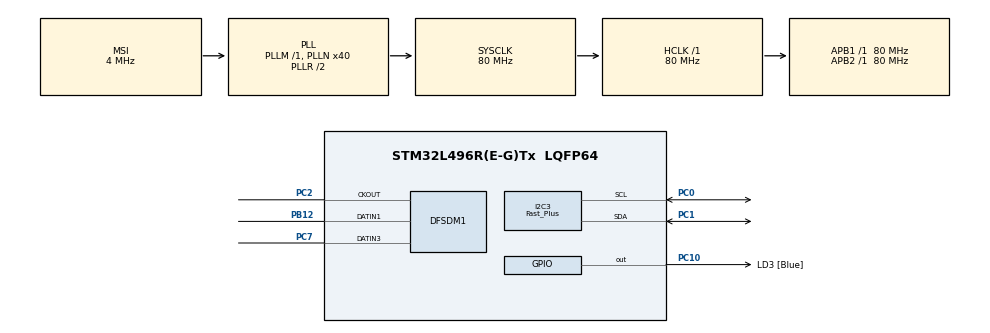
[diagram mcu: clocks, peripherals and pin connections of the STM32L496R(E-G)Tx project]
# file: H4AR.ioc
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DFSDM1.Divider=40
DFSDM1.DmaMode_reg_FIL0=ENABLE
DFSDM1.DmaMode_reg_FIL1=ENABLE
DFSDM1.DmaMode_reg_FIL2=ENABLE
DFSDM1.DmaMode_reg_FIL3=ENABLE
DFSDM1.FastMode_reg_FIL0=ENABLE
DFSDM1.FastMode_reg_FIL1=ENABLE
DFSDM1.FastMode_reg_FIL2=ENABLE
DFSDM1.FastMode_reg_FIL3=ENABLE
DFSDM1.Filter_injChannel0_FIL0=__NULL
DFSDM1.Filter_injChannel0_FIL2=__NULL
DFSDM1.Filter_injChannel1_FIL0=__NULL
DFSDM1.Filter_injChannel1_FIL1=__NULL
DFSDM1.Filter_injChannel2_FIL0=__NULL
DFSDM1.Filter_injChannel2_FIL2=__NULL
DFSDM1.Filter_injChannel3_FIL0=__NULL
DFSDM1.Filter_regChannel_FIL0=DFSDM_CHANNEL_2
DFSDM1.Filter_regChannel_FIL1=DFSDM_CHANNEL_3
DFSDM1.Filter_regChannel_FIL2=DFSDM_CHANNEL_0
DFSDM1.Filter_regChannel_FIL3=DFSDM_CHANNEL_1
DFSDM1.Filter_regContinuousMode_FIL2=DFSDM_CONTINUOUS_CONV_ON
DFSDM1.Fosr_FIL0=63
DFSDM1.Fosr_FIL1=63
DFSDM1.Fosr_FIL2=63
DFSDM1.Fosr_FIL3=63
DFSDM1.RightBitShift_CH0=0x7
DFSDM1.RightBitShift_CH1=0x07
DFSDM1.RightBitShift_CH2=0x7
DFSDM1.RightBitShift_CH3=0x7
DFSDM1.SincOrder_FIL0=DFSDM_FILTER_SINC5_ORDER
DFSDM1.SincOrder_FIL1=DFSDM_FILTER_SINC5_ORDER
DFSDM1.SincOrder_FIL2=DFSDM_FILTER_SINC5_ORDER
DFSDM1.SincOrder_FIL3=DFSDM_FILTER_SINC5_ORDER
DFSDM1.Type_spi_CH1=DFSDM_CHANNEL_SPI_FALLING
DFSDM1.Type_spi_CH3=DFSDM_CHANNEL_SPI_FALLING
Dma.DFSDM1_FLT0.2.Direction=DMA_PERIPH_TO_MEMORY
Dma.DFSDM1_FLT0.2.Instance=DMA1_Channel4
Dma.DFSDM1_FLT0.2.MemDataAlignment=DMA_MDATAALIGN_WORD
Dma.DFSDM1_FLT0.2.MemInc=DMA_MINC_ENABLE
Dma.DFSDM1_FLT0.2.Mode=DMA_CIRCULAR
Dma.DFSDM1_FLT0.2.PeriphDataAlignment=DMA_PDATAALIGN_WORD
Dma.DFSDM1_FLT0.2.PeriphInc=DMA_PINC_DISABLE
Dma.DFSDM1_FLT0.2.Priority=DMA_PRIORITY_LOW
Dma.DFSDM1_FLT1.0.Direction=DMA_PERIPH_TO_MEMORY
Dma.DFSDM1_FLT1.0.Instance=DMA1_Channel5
Dma.DFSDM1_FLT1.0.MemDataAlignment=DMA_MDATAALIGN_WORD
Dma.DFSDM1_FLT1.0.MemInc=DMA_MINC_ENABLE
Dma.DFSDM1_FLT1.0.Mode=DMA_CIRCULAR
Dma.DFSDM1_FLT1.0.PeriphDataAlignment=DMA_PDATAALIGN_WORD
Dma.DFSDM1_FLT1.0.PeriphInc=DMA_PINC_DISABLE
Dma.DFSDM1_FLT1.0.Priority=DMA_PRIORITY_LOW
Dma.DFSDM1_FLT2.3.Direction=DMA_PERIPH_TO_MEMORY
Dma.DFSDM1_FLT2.3.Instance=DMA1_Channel6
Dma.DFSDM1_FLT2.3.MemDataAlignment=DMA_MDATAALIGN_WORD
Dma.DFSDM1_FLT2.3.MemInc=DMA_MINC_ENABLE
Dma.DFSDM1_FLT2.3.Mode=DMA_CIRCULAR
Dma.DFSDM1_FLT2.3.PeriphDataAlignment=DMA_PDATAALIGN_WORD
Dma.DFSDM1_FLT2.3.PeriphInc=DMA_PINC_DISABLE
Dma.DFSDM1_FLT2.3.Priority=DMA_PRIORITY_LOW
Dma.DFSDM1_FLT3.1.Direction=DMA_PERIPH_TO_MEMORY
Dma.DFSDM1_FLT3.1.Instance=DMA1_Channel7
Dma.DFSDM1_FLT3.1.MemDataAlignment=DMA_MDATAALIGN_WORD
Dma.DFSDM1_FLT3.1.MemInc=DMA_MINC_ENABLE
Dma.DFSDM1_FLT3.1.Mode=DMA_CIRCULAR
Dma.DFSDM1_FLT3.1.PeriphDataAlignment=DMA_PDATAALIGN_WORD
Dma.DFSDM1_FLT3.1.PeriphInc=DMA_PINC_DISABLE
Dma.DFSDM1_FLT3.1.Priority=DMA_PRIORITY_LOW
Dma.Request0=DFSDM1_FLT1
Dma.Request1=DFSDM1_FLT3
Dma.Request2=DFSDM1_FLT0
Dma.Request3=DFSDM1_FLT2
I2C3.I2C_Speed_Mode=I2C_Fast_Plus
I2C3.Timing=0x00300F33
Mcu.Family=STM32L4
Mcu.Name=STM32L496R(E-G)Tx
Mcu.Package=LQFP64
NVIC.DMA1_Channel4_IRQn=true\:0\:0\:false\:false\:true\:false\:true
NVIC.DMA1_Channel5_IRQn=true\:0\:0\:false\:false\:true\:false\:true
NVIC.DMA1_Channel6_IRQn=true\:0\:0\:false\:false\:true\:false\:true
NVIC.DMA1_Channel7_IRQn=true\:0\:0\:false\:false\:true\:false\:true
NVIC.PriorityGroup=NVIC_PRIORITYGROUP_4
PA13\ (JTMS/SWDIO).Mode=Serial_Wire
PA13\ (JTMS/SWDIO).Signal=SYS_JTMS-SWDIO
PA14\ (JTCK/SWCLK).Mode=Serial_Wire
PA14\ (JTCK/SWCLK).Signal=SYS_JTCK-SWCLK
PB12.Signal=S_DATAIN1DFSDM1
PC0.Mode=I2C
PC0.Signal=I2C3_SCL
PC1.Mode=I2C
PC1.Signal=I2C3_SDA
PC10.GPIO_Label=LD3 [Blue]
PC10.GPIO_PuPd=GPIO_NOPULL
PC10.Signal=GPIO_Output
PC14-OSC32_IN\ (PC14).Mode=LSE-External-Oscillator
PC14-OSC32_IN\ (PC14).Signal=RCC_OSC32_IN
PC15-OSC32_OUT\ (PC15).Mode=LSE-External-Oscillator
PC15-OSC32_OUT\ (PC15).Signal=RCC_OSC32_OUT
PC2.Signal=S_CKOUTDFSDM1
PC7.Signal=S_DATAIN3DFSDM1
PH0-OSC_IN\ (PH0).Mode=HSE-External-Oscillator
PH0-OSC_IN\ (PH0).Signal=RCC_OSC_IN
PH1-OSC_OUT\ (PH1).Mode=HSE-External-Oscillator
PH1-OSC_OUT\ (PH1).Signal=RCC_OSC_OUT
ProjectManager.HeapSize=0x200
ProjectManager.StackSize=0x400
ProjectManager.TargetToolchain=STM32CubeIDE
RCC.ADCFreq_Value=16000000
RCC.AHBFreq_Value=80000000
RCC.APB1Freq_Value=80000000
RCC.APB1TimFreq_Value=80000000
RCC.APB2Freq_Value=80000000
RCC.APB2TimFreq_Value=80000000
RCC.CortexFreq_Value=80000000
RCC.HCLKFreq_Value=80000000
RCC.HSE_VALUE=16000000
RCC.HSI48_VALUE=48000000
RCC.HSI_VALUE=16000000
RCC.MSI_VALUE=4000000
RCC.PLLN=40
RCC.SYSCLKFreq_VALUE=80000000
RCC.SYSCLKSource=RCC_SYSCLKSOURCE_PLLCLK
RCC.USBFreq_Value=16000000
RCC.VCOOutputFreq_Value=160000000
SH.S_CKOUTDFSDM1.0=DFSDM1_CKOUT,PDM_SPI_input_from_ch1_and_internal_clock
SH.S_CKOUTDFSDM1.1=DFSDM1_CKOUT,CKOUT
SH.S_CKOUTDFSDM1.2=DFSDM1_CKOUT,PDM_SPI_input_from_ch3_and_internal_clock
SH.S_CKOUTDFSDM1.3=DFSDM1_CKOUT,PDM_SPI_Input_from_ch01_and_Internal_Clock
SH.S_CKOUTDFSDM1.4=DFSDM1_CKOUT,PDM_SPI_Input_from_ch23_and_Internal_Clock
SH.S_DATAIN1DFSDM1.0=DFSDM1_DATIN1,PDM_SPI_input_from_ch1_and_internal_clock
SH.S_DATAIN1DFSDM1.1=DFSDM1_DATIN1,PDM_SPI_Input_from_ch01_and_Internal_Clock
SH.S_DATAIN3DFSDM1.0=DFSDM1_DATIN3,PDM_SPI_input_from_ch3_and_internal_clock
SH.S_DATAIN3DFSDM1.1=DFSDM1_DATIN3,PDM_SPI_Input_from_ch23_and_Internal_Clock
board=custom

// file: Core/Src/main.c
/* USER CODE BEGIN Header */
/**
  ******************************************************************************
  * @file           : main.c
  * @brief          : Main program body
  ******************************************************************************
  * @attention
  *
  * <h2><center>&copy; Copyright (c) 2020 STMicroelectronics.
  * All rights reserved.</center></h2>
  *
  * This software component is licensed by ST under BSD 3-Clause license,
  * the "License"; You may not use this file except in compliance with the
  * License. You may obtain a copy of the License at:
  *                        opensource.org/licenses/BSD-3-Clause
  *
  ******************************************************************************
  */
/* USER CODE END Header */
#include "main.h"

/* USER CODE BEGIN Includes */
#include "constants.h"
#include "acoustic_sl.h"
#include "sound_localizer.h"
#include "oled.h"
/* USER CODE END Includes */

DFSDM_Filter_HandleTypeDef hdfsdm1_filter0;
DFSDM_Filter_HandleTypeDef hdfsdm1_filter1;
DFSDM_Filter_HandleTypeDef hdfsdm1_filter2;
DFSDM_Filter_HandleTypeDef hdfsdm1_filter3;
DFSDM_Channel_HandleTypeDef hdfsdm1_channel0;
DFSDM_Channel_HandleTypeDef hdfsdm1_channel1;
DFSDM_Channel_HandleTypeDef hdfsdm1_channel2;
DFSDM_Channel_HandleTypeDef hdfsdm1_channel3;
DMA_HandleTypeDef hdma_dfsdm1_flt1;
DMA_HandleTypeDef hdma_dfsdm1_flt3;
DMA_HandleTypeDef hdma_dfsdm1_flt0;
DMA_HandleTypeDef hdma_dfsdm1_flt2;

I2C_HandleTypeDef hi2c3;

void SystemClock_Config(void);
static void MX_GPIO_Init(void);
static void MX_DMA_Init(void);
static void MX_DFSDM1_Init(void);
static void MX_I2C3_Init(void);

/* USER CODE BEGIN 0 */
int16_t PlayBuf0[AUDIO_REC_SIZE];
int16_t PlayBuf1[AUDIO_REC_SIZE];
int16_t PlayBuf2[AUDIO_REC_SIZE];
int16_t PlayBuf3[AUDIO_REC_SIZE];
int32_t RecBuf0[AUDIO_REC_SIZE];
int32_t RecBuf1[AUDIO_REC_SIZE];
int32_t RecBuf2[AUDIO_REC_SIZE];
int32_t RecBuf3[AUDIO_REC_SIZE];

// Offset fixing
// TODO: Use this for offset-fixing, as needed
int32_t PlayBufSums[MICS];

volatile int32_t AngleExists0;
volatile int32_t AngleExists1;
volatile int32_t AngleExists2;
volatile int32_t AngleRaw0;
volatile int32_t AngleRaw1;
volatile int32_t AngleRaw2;

volatile int32_t AngleEstimation00;
volatile int32_t AngleEstimation01;
volatile int32_t AngleEstimation10;
volatile int32_t AngleEstimation11;
volatile int32_t AngleEstimation20;
volatile int32_t AngleEstimation21;
volatile int32_t RaiseIRQ;

volatile int32_t IsConvergence;
volatile int32_t ConvergenceAngle;

// Smoothing stuff
volatile int32_t pastEstimatesForSmoothing[3][SMOOTHING_SAMPLES];
volatile int32_t currentSmoothingIndex[3];
volatile int32_t currentSmoothingSum[3];
volatile int32_t currentSmoothingSumOfSquares[3];

volatile int32_t pastEstimatesForSmoothingConvergence[SMOOTHING_SAMPLES];
volatile int32_t currentSmoothingIndexConvergence;
volatile int32_t currentSmoothingSumConvergence;
volatile int32_t currentSmoothingSumOfSquaresConvergence;

volatile int32_t SmoothedAngleExists0;
volatile int32_t SmoothedAngleExists1;
volatile int32_t SmoothedAngleExists2;
volatile int32_t SmoothedAngleEstimation0;
volatile int32_t SmoothedAngleEstimation1;
volatile int32_t SmoothedAngleEstimation2;

volatile int32_t SmoothedConvergenceExists;
volatile int32_t SmoothedConvergenceAngle;

volatile int alreadyBinned = 1;
int globalLastAngle = 8;

// Whether first half of PlayBuf[i] is ready for acousticSL
uint8_t PlayHalfReady[MICS] = {0, 0, 0, 0};

// Whether second half of PlayBuf[i] is ready for acousticSL
uint8_t PlaySecondHalfReady[MICS] = {0, 0, 0, 0};

uint8_t DmaRecHalfBuffComplete[MICS] = {0, 0, 0, 0};
uint8_t DmaRecBuffComplete[MICS] = {0, 0, 0, 0};

int DFSDMFilterToIndex(DFSDM_Filter_HandleTypeDef *hfdfsdm_filter) {
	if (&hdfsdm1_filter0 == hfdfsdm_filter) return 0;
	else if (&hdfsdm1_filter1 == hfdfsdm_filter) return 1;
	else if (&hdfsdm1_filter2 == hfdfsdm_filter) return 2;
	else if (&hdfsdm1_filter3 == hfdfsdm_filter) return 3;
	else Error_Handler();

	return -1;
}

DFSDM_Filter_HandleTypeDef* IndexToDFSDMFilter(int index) {
	switch (index) {
		case 0: return &hdfsdm1_filter0;
		case 1: return &hdfsdm1_filter1;
		case 2: return &hdfsdm1_filter2;
		case 3: return &hdfsdm1_filter3;
	}

	Error_Handler();
	return NULL;
}

void HAL_DFSDM_FilterRegConvHalfCpltCallback(DFSDM_Filter_HandleTypeDef *hdfsdm_filter) {
	int filter = DFSDMFilterToIndex(hdfsdm_filter);
	DmaRecHalfBuffComplete[filter] = 1;
}

void HAL_DFSDM_FilterRegConvCpltCallback(DFSDM_Filter_HandleTypeDef *hdfsdm_filter) {
	int filter = DFSDMFilterToIndex(hdfsdm_filter);
	DmaRecBuffComplete[filter] = 1;
}

void HAL_DFSDM_FilterErrorCallback(DFSDM_Filter_HandleTypeDef *hdfsdm_filter) {
	Error_Handler();
}

int IsAllSet(uint8_t *buffer, int n) {
	for (int i = 0; i < n; i++) {
		if (buffer[i] == 0) {
			return 0;
		}
	}

	return 1;
}

void GetBuffers(int index, int16_t **playbuf, int32_t **recbuf) {
	int16_t *buffer = 0;
	switch (index) {
		case 0: buffer = PlayBuf0; break;
		case 1: buffer = PlayBuf1; break;
		case 2: buffer = PlayBuf2; break;
		case 3: buffer = PlayBuf3; break;
		default: Error_Handler(); break;
	}

	int32_t *recbuffer = 0;
	switch (index) {
		case 0: recbuffer = RecBuf0; break;
		case 1: recbuffer = RecBuf1; break;
		case 2: recbuffer = RecBuf2; break;
		case 3: recbuffer = RecBuf3; break;
		default: Error_Handler(); break;
	}

	if (playbuf) *playbuf = buffer;
	if (recbuf) *recbuf = recbuffer;
}

void ClearUI8Buffers(uint8_t *buffer, int n) {
	for (int i = 0; i < n; i++) {
		buffer[i] = 0;
	}
}

void ClearI32Buffers(volatile int32_t *buffer, int n) {
	for (int i = 0; i < n; i++) {
		buffer[i] = 0;
	}
}

void ClearBuffers(int offset) {
	int16_t *playbuf;
	int32_t *recbuf;
	GetBuffers(offset, &playbuf, &recbuf);
	for (int i = 0; i < AUDIO_REC_SIZE; i++) {
		playbuf[i] = 0;
		recbuf[i] = 0;
	}
}

int GetOffsets(int offset) {
	// If you think you know what you want to do here,
	// you probably don't. Never change these numbers
	// unless you want to fail.
	//
	// - :eyes:
	int evil_offset = 300;
	switch (offset) {
	case 0:
		return (465) - evil_offset;
	case 1:
		return (349) - evil_offset;
	case 2:
		return (423) - evil_offset;
	case 3:
		return (600) - evil_offset;
	default:
		return 0;
	}
}

void TransferBuffers(int offset, int low, int high) {
	int16_t *buffer;
	int32_t *recbuffer;
	GetBuffers(offset, &buffer, &recbuffer);

	// acousticSL only wants 16 bits
	for (uint16_t i = low; i < high; i++) {
		buffer[i] = (recbuffer[i] >> 16) - GetOffsets(offset);
	}
}

// TODO: Check if angle is measured anticlockwise from x-axis
// TODO: Update this when covering 360 degree range
uint8_t angleToDirectionNumber(int32_t exists, int32_t estimation) {
	if (!exists) return 8;
	if (estimation >= 90 && estimation <= 270) return 8;
	return (((estimation + 23) / 45) % 8);
}

void EXTI1_Callback(void) {
	if (RaiseIRQ & 1) {
		Audio_ProcessAngle(0);
		int32_t angle = Audio_GetAngle(0);
		if (angle == ACOUSTIC_SL_NO_AUDIO_DETECTED) {
			AngleExists0 = 0;
		} else {
			AngleExists0 = 1;
			AngleRaw0 = angle;

		}
	}

	if (RaiseIRQ & 2) {
		Audio_ProcessAngle(1);
		int32_t angle = Audio_GetAngle(1);
		if (angle == ACOUSTIC_SL_NO_AUDIO_DETECTED) {
			AngleExists1 = 0;
		} else {
			AngleExists1 = 1;
			AngleRaw1 = angle;
		}
	}

	/*
	if (RaiseIRQ & 4) {
		Audio_ProcessAngle(2);
		int32_t angle = Audio_GetAngle(2);
		if (angle == ACOUSTIC_SL_NO_AUDIO_DETECTED) {
			AngleExists2 = 0;
		} else {
			AngleExists2 = 1;
			AngleRaw2 = angle;
		}
	}
	*/

	int32_t input[3] = {AngleRaw0, AngleRaw1, AngleRaw2};
	int32_t exists[3] = {AngleExists0, AngleExists1, AngleExists2};
	volatile int32_t *smoothExists[3] = {&SmoothedAngleExists0, &SmoothedAngleExists1, &SmoothedAngleExists2};
	volatile int32_t *smoothAngle[3] = {&SmoothedAngleEstimation0, &SmoothedAngleEstimation1, &SmoothedAngleEstimation2};
	for (int i = 0; i < 2; i++) {
		if (!exists[i]) {
			*(smoothExists[i]) = 0;
			continue;
		}

		// Smoothing stuff
		int32_t AngleEstimation = input[i];
		currentSmoothingSum[i] -= pastEstimatesForSmoothing[i][currentSmoothingIndex[i]];
		currentSmoothingSumOfSquares[i] -= pastEstimatesForSmoothing[i][currentSmoothingIndex[i]] * pastEstimatesForSmoothing[i][currentSmoothingIndex[i]];
		currentSmoothingSum[i] += AngleEstimation;
		currentSmoothingSumOfSquares[i] += AngleEstimation * AngleEstimation;
		pastEstimatesForSmoothing[i][currentSmoothingIndex[i]] = AngleEstimation;
		currentSmoothingIndex[i] = (currentSmoothingIndex[i] + 1) % SMOOTHING_SAMPLES;
		int mean = currentSmoothingSum[i] / SMOOTHING_SAMPLES;
		int variance = currentSmoothingSumOfSquares[i] / SMOOTHING_SAMPLES - mean * mean;
		if (variance < SMOOTHING_THRESHOLD * SMOOTHING_THRESHOLD) {
			*(smoothExists[i]) = 1;
			*(smoothAngle[i]) = mean;
		}
		else {
			*(smoothExists[i]) = 0;
		}
	}

	if (SmoothedAngleExists0 && SmoothedAngleExists1 /*&& SmoothedAngleExists2 */) {
		AngleEstimation00 = (((-90 + MIC_OFFSET - SmoothedAngleEstimation0) + 720) % 360);
		AngleEstimation01 = (((90 + MIC_OFFSET + SmoothedAngleEstimation0) + 720) % 360);
		AngleEstimation10 = (((90 - MIC_OFFSET - SmoothedAngleEstimation1) + 720) % 360);
		AngleEstimation11 = (((270 - MIC_OFFSET + SmoothedAngleEstimation1) + 720) % 360);
		AngleEstimation20 = ((SmoothedAngleEstimation2 + 720) % 360);
		AngleEstimation21 = ((180 - SmoothedAngleEstimation2 + 720) % 360);

		IsConvergence = 1;
		int32_t numbers[6] = {AngleEstimation00, AngleEstimation01, AngleEstimation10, AngleEstimation11, AngleEstimation20, AngleEstimation21};
		int32_t minDiff = 360;
		int32_t avg = 0;
		int32_t pair0_num = -1;
		int32_t pair1_num = -1;
		for (int i = 0; i < 2; i++) {
			for (int j = 2; j < 4; j++) {
				int32_t diff = numbers[j] - numbers[i];
				if (diff < 0) diff = -diff;

				int32_t diff1 = diff % 360;
				int32_t diff2 = (360 - diff) % 360;
				int32_t trueDiff = (diff1 < diff2) ? diff1 : diff2;
				if (trueDiff < minDiff) {
					minDiff = trueDiff;
					pair0_num = i;
					pair1_num = j;

					if (diff > 180) {
						avg = (numbers[j] < numbers[i]) ? numbers[i] : numbers[j];
						avg = (avg + minDiff/2) % 360;
					} else {
						avg = (numbers[j] < numbers[i]) ? numbers[j] : numbers[i];
						avg += (minDiff / 2);
					}
				}
			}
		}

		ConvergenceAngle = avg;
		if (ConvergenceAngle < 180) {
			ConvergenceAngle = numbers[pair1_num];
		} else {
			ConvergenceAngle = numbers[pair0_num];
		}
	} else {
		IsConvergence = 0;
	}

	if (IsConvergence) {
		int32_t AngleEstimation = ConvergenceAngle;
		currentSmoothingSumConvergence -= pastEstimatesForSmoothingConvergence[currentSmoothingIndexConvergence];
		currentSmoothingSumOfSquaresConvergence -= pastEstimatesForSmoothingConvergence[currentSmoothingIndexConvergence] * pastEstimatesForSmoothingConvergence[currentSmoothingIndexConvergence];
		currentSmoothingSumConvergence += AngleEstimation;
		currentSmoothingSumOfSquaresConvergence += AngleEstimation * AngleEstimation;
		pastEstimatesForSmoothingConvergence[currentSmoothingIndexConvergence] = AngleEstimation;
		currentSmoothingIndexConvergence = (currentSmoothingIndexConvergence + 1) % SMOOTHING_SAMPLES;
		int mean = currentSmoothingSumConvergence / SMOOTHING_SAMPLES;
		int variance = currentSmoothingSumOfSquaresConvergence / SMOOTHING_SAMPLES - mean * mean;
		if (variance < SMOOTHING_THRESHOLD * SMOOTHING_THRESHOLD) {
			SmoothedConvergenceExists = 1;
			SmoothedConvergenceAngle = mean;
		}
		else {
			SmoothedConvergenceExists = 0;
		}
	} else {
		SmoothedConvergenceExists = 0;
	}
	alreadyBinned = 0;
	RaiseIRQ = 0;
}

/* USER CODE END 0 */

/*
 * --------------------
 * Interface for Bins!
 * --------------------
 */
void clearBins(int *bins) {
	for (int i = 0; i < NUMBER_OF_BINS; i++) {
		bins[i] = 0;
	}
}

void binAngle(int *bins, int delta) {
	if (!(delta < NUMBER_OF_BINS)) Error_Handler();
	bins[delta]++;
}

int getBinMaxIfOk(int * bins, int binnedSamples) {
	for (int i = 0; i < NUMBER_OF_BINS; i++) {
		int percentOk = (bins[i] * 100) / binnedSamples;
		if (percentOk >= BIN_PERCENT_THRESHOLD) {
			return i;
		}
	}
	return 8;
}
/*
 * --------------------
 * End Interface for Bins!
 * --------------------
 */

int main(void)
{

  /* MCU Configuration--------------------------------------------------------*/

  /* Reset of all peripherals, Initializes the Flash interface and the Systick. */
  HAL_Init();

  /* USER CODE BEGIN Init */
  RaiseIRQ = 0;
  AngleExists0 = 0;
  AngleEstimation00 = 0;
  AngleEstimation01 = 0;
  AngleExists1 = 0;
  AngleEstimation10 = 0;
  AngleEstimation11 = 0;
  AngleExists2 = 0;
  AngleEstimation20 = 0;
  AngleEstimation21 = 0;

  // Initialize smoothing stuff
  ClearI32Buffers(pastEstimatesForSmoothing[0], SMOOTHING_SAMPLES);
  ClearI32Buffers(pastEstimatesForSmoothing[1], SMOOTHING_SAMPLES);
  ClearI32Buffers(pastEstimatesForSmoothing[2], SMOOTHING_SAMPLES);
  ClearI32Buffers(PlayBufSums, MICS);
  for (int i = 0; i < 3; i++) {
	currentSmoothingIndex[i] = 0;
	currentSmoothingSum[i] = 0;
	currentSmoothingSumOfSquares[i] = 0;
  }

  ClearI32Buffers(pastEstimatesForSmoothingConvergence, SMOOTHING_SAMPLES);
  currentSmoothingIndexConvergence = 0;
  currentSmoothingSumConvergence = 0;
  currentSmoothingSumOfSquaresConvergence = 0;
  /* USER CODE END Init */

  /* Configure the system clock */
  SystemClock_Config();

  /* Initialize all configured peripherals */
  MX_GPIO_Init();
  MX_DMA_Init();
  MX_DFSDM1_Init();
  MX_I2C3_Init();
  /* USER CODE BEGIN 2 */
  HAL_GPIO_TogglePin(LD3_GPIO_Port, LD3_Pin);
  oled_Init(&hi2c3);

  // TODO: Don't preempt computing angles -- dubious at best, evil at worst?
  HAL_NVIC_SetPriority((IRQn_Type)EXTI1_IRQn, 0, 0);
  HAL_NVIC_EnableIRQ((IRQn_Type)EXTI1_IRQn);

  int status = Audio_Libraries_Init(M12_DISTANCE, SAMPLING_FREQUENCY);

  for (int i = 0; i < MICS; i++) {
	  ClearBuffers(i);
	  DFSDM_Filter_HandleTypeDef *filter = IndexToDFSDMFilter(i);
	  HAL_DFSDM_Filter_RegisterCallback(filter, HAL_DFSDM_FILTER_REGCONV_HALFCOMPLETE_CB_ID, HAL_DFSDM_FilterRegConvHalfCpltCallback);
	  HAL_DFSDM_Filter_RegisterCallback(filter, HAL_DFSDM_FILTER_REGCONV_COMPLETE_CB_ID, HAL_DFSDM_FilterRegConvCpltCallback);
	  HAL_DFSDM_Filter_RegisterCallback(filter, HAL_DFSDM_FILTER_ERROR_CB_ID, HAL_DFSDM_FilterErrorCallback);
  }

  for (int i = 0; i < MICS; i++) {
	  DFSDM_Filter_HandleTypeDef *filter = IndexToDFSDMFilter(i);
	  int32_t *recbuf;
	  GetBuffers(i, NULL, &recbuf);
	  status += HAL_DFSDM_FilterRegularStart_DMA(filter, recbuf, AUDIO_REC_SIZE);
  }

  if (status != 0) {
	  Error_Handler();
  }

  /* USER CODE END 2 */

  /* Infinite loop */
  /* USER CODE BEGIN WHILE */
  int lastAngle = 8;
  globalLastAngle = lastAngle;
  int binnedSamples = 0;
  int bins[NUMBER_OF_BINS];
  while (1)
  {
	  if (!alreadyBinned) {
		  alreadyBinned = 1;
		  int delta = angleToDirectionNumber(SmoothedConvergenceExists, SmoothedConvergenceAngle);
		  binAngle(bins, delta);
		  binnedSamples++;
		  if (BIN_RATE <= binnedSamples) {
			  int newBinAngle = getBinMaxIfOk(bins, binnedSamples);
			  if (newBinAngle != lastAngle) {
				  lastAngle = newBinAngle;
				  globalLastAngle = lastAngle;
				  oled_Display(lastAngle);
			  }
			  binnedSamples = 0;
			  clearBins(bins);
		  }
	  }
    /* USER CODE END WHILE */

    /* USER CODE BEGIN 3 */
	  RaiseIRQ = 0;
	  if (IsAllSet(PlayHalfReady, MICS)) {
		  int16_t *rec0;
		  int16_t *rec1;
		  int16_t *rec2;
		  int16_t *rec3;
		  GetBuffers(0, &rec0, NULL);
		  GetBuffers(1, &rec1, NULL);
		  GetBuffers(2, &rec2, NULL);
		  GetBuffers(3, &rec3, NULL);
		  ClearUI8Buffers(PlayHalfReady, MICS);

		  RaiseIRQ = 0;
		  RaiseIRQ |= Audio_Process_Data_Input(0, rec3, rec2);
		  RaiseIRQ |= (Audio_Process_Data_Input(1, rec1, rec0) << 1);
		  // RaiseIRQ |= (Audio_Process_Data_Input(2, rec0, rec3) << 2);
	  } else if (IsAllSet(PlaySecondHalfReady, MICS)) {
		  int16_t *rec0;
		  int16_t *rec1;
		  int16_t *rec2;
		  int16_t *rec3;
		  GetBuffers(0, &rec0, NULL);
		  GetBuffers(1, &rec1, NULL);
		  GetBuffers(2, &rec2, NULL);
		  GetBuffers(3, &rec3, NULL);
		  ClearUI8Buffers(PlaySecondHalfReady, MICS);

		  RaiseIRQ = 0;
		  RaiseIRQ |= Audio_Process_Data_Input(0, rec3 + (AUDIO_REC_SIZE/2), rec2 + (AUDIO_REC_SIZE/2));
		  RaiseIRQ |= (Audio_Process_Data_Input(1, rec1 + (AUDIO_REC_SIZE/2), rec0 + (AUDIO_REC_SIZE/2)) << 1);
		  // RaiseIRQ |= (Audio_Process_Data_Input(2, rec0 + (AUDIO_REC_SIZE/2), rec3 + (AUDIO_REC_SIZE/2)) << 2);
	  }

	  if (RaiseIRQ) {
		  HAL_NVIC_SetPendingIRQ(EXTI1_IRQn);
	  }

	  for (int j = 0; j < MICS; j++) {
		  if (DmaRecHalfBuffComplete[j]) {
			  TransferBuffers(j, 0, AUDIO_REC_SIZE/2);
			  DmaRecHalfBuffComplete[j] = 0;
			  PlayHalfReady[j] = 1;
		  }
		  if (DmaRecBuffComplete[j]) {
			  TransferBuffers(j, AUDIO_REC_SIZE / 2, AUDIO_REC_SIZE);
			  DmaRecBuffComplete[j] = 0;
			  PlaySecondHalfReady[j] = 1;
		  }
	  }
  }
  /* USER CODE END 3 */
}

void SystemClock_Config(void)
{
  RCC_OscInitTypeDef RCC_OscInitStruct = {0};
  RCC_ClkInitTypeDef RCC_ClkInitStruct = {0};
  RCC_PeriphCLKInitTypeDef PeriphClkInit = {0};

  /** Initializes the RCC Oscillators according to the specified parameters
  * in the RCC_OscInitTypeDef structure.
  */
  RCC_OscInitStruct.OscillatorType = RCC_OSCILLATORTYPE_MSI;
  RCC_OscInitStruct.MSIState = RCC_MSI_ON;
  RCC_OscInitStruct.MSICalibrationValue = 0;
  RCC_OscInitStruct.MSIClockRange = RCC_MSIRANGE_6;
  RCC_OscInitStruct.PLL.PLLState = RCC_PLL_ON;
  RCC_OscInitStruct.PLL.PLLSource = RCC_PLLSOURCE_MSI;
  RCC_OscInitStruct.PLL.PLLM = 1;
  RCC_OscInitStruct.PLL.PLLN = 40;
  RCC_OscInitStruct.PLL.PLLP = RCC_PLLP_DIV2;
  RCC_OscInitStruct.PLL.PLLQ = RCC_PLLQ_DIV2;
  RCC_OscInitStruct.PLL.PLLR = RCC_PLLR_DIV2;
  if (HAL_RCC_OscConfig(&RCC_OscInitStruct) != HAL_OK)
  {
    Error_Handler();
  }
  /** Initializes the CPU, AHB and APB buses clocks
  */
  RCC_ClkInitStruct.ClockType = RCC_CLOCKTYPE_HCLK|RCC_CLOCKTYPE_SYSCLK
                              |RCC_CLOCKTYPE_PCLK1|RCC_CLOCKTYPE_PCLK2;
  RCC_ClkInitStruct.SYSCLKSource = RCC_SYSCLKSOURCE_PLLCLK;
  RCC_ClkInitStruct.AHBCLKDivider = RCC_SYSCLK_DIV1;
  RCC_ClkInitStruct.APB1CLKDivider = RCC_HCLK_DIV1;
  RCC_ClkInitStruct.APB2CLKDivider = RCC_HCLK_DIV1;

  if (HAL_RCC_ClockConfig(&RCC_ClkInitStruct, FLASH_LATENCY_4) != HAL_OK)
  {
    Error_Handler();
  }
  PeriphClkInit.PeriphClockSelection = RCC_PERIPHCLK_I2C3|RCC_PERIPHCLK_DFSDM1;
  PeriphClkInit.I2c3ClockSelection = RCC_I2C3CLKSOURCE_PCLK1;
  PeriphClkInit.Dfsdm1ClockSelection = RCC_DFSDM1CLKSOURCE_PCLK;
  if (HAL_RCCEx_PeriphCLKConfig(&PeriphClkInit) != HAL_OK)
  {
    Error_Handler();
  }
  /** Configure the main internal regulator output voltage
  */
  if (HAL_PWREx_ControlVoltageScaling(PWR_REGULATOR_VOLTAGE_SCALE1) != HAL_OK)
  {
    Error_Handler();
  }
}

static void MX_DFSDM1_Init(void)
{

  hdfsdm1_filter0.Instance = DFSDM1_Filter0;
  hdfsdm1_filter0.Init.RegularParam.Trigger = DFSDM_FILTER_SW_TRIGGER;
  hdfsdm1_filter0.Init.RegularParam.FastMode = ENABLE;
  hdfsdm1_filter0.Init.RegularParam.DmaMode = ENABLE;
  hdfsdm1_filter0.Init.FilterParam.SincOrder = DFSDM_FILTER_SINC5_ORDER;
  hdfsdm1_filter0.Init.FilterParam.Oversampling = 63;
  hdfsdm1_filter0.Init.FilterParam.IntOversampling = 1;
  if (HAL_DFSDM_FilterInit(&hdfsdm1_filter0) != HAL_OK)
  {
    Error_Handler();
  }
  hdfsdm1_filter1.Instance = DFSDM1_Filter1;
  hdfsdm1_filter1.Init.RegularParam.Trigger = DFSDM_FILTER_SW_TRIGGER;
  hdfsdm1_filter1.Init.RegularParam.FastMode = ENABLE;
  hdfsdm1_filter1.Init.RegularParam.DmaMode = ENABLE;
  hdfsdm1_filter1.Init.FilterParam.SincOrder = DFSDM_FILTER_SINC5_ORDER;
  hdfsdm1_filter1.Init.FilterParam.Oversampling = 63;
  hdfsdm1_filter1.Init.FilterParam.IntOversampling = 1;
  if (HAL_DFSDM_FilterInit(&hdfsdm1_filter1) != HAL_OK)
  {
    Error_Handler();
  }
  hdfsdm1_filter2.Instance = DFSDM1_Filter2;
  hdfsdm1_filter2.Init.RegularParam.Trigger = DFSDM_FILTER_SW_TRIGGER;
  hdfsdm1_filter2.Init.RegularParam.FastMode = ENABLE;
  hdfsdm1_filter2.Init.RegularParam.DmaMode = ENABLE;
  hdfsdm1_filter2.Init.FilterParam.SincOrder = DFSDM_FILTER_SINC5_ORDER;
  hdfsdm1_filter2.Init.FilterParam.Oversampling = 63;
  hdfsdm1_filter2.Init.FilterParam.IntOversampling = 1;
  if (HAL_DFSDM_FilterInit(&hdfsdm1_filter2) != HAL_OK)
  {
    Error_Handler();
  }
  hdfsdm1_filter3.Instance = DFSDM1_Filter3;
  hdfsdm1_filter3.Init.RegularParam.Trigger = DFSDM_FILTER_SW_TRIGGER;
  hdfsdm1_filter3.Init.RegularParam.FastMode = ENABLE;
  hdfsdm1_filter3.Init.RegularParam.DmaMode = ENABLE;
  hdfsdm1_filter3.Init.FilterParam.SincOrder = DFSDM_FILTER_SINC5_ORDER;
  hdfsdm1_filter3.Init.FilterParam.Oversampling = 63;
  hdfsdm1_filter3.Init.FilterParam.IntOversampling = 1;
  if (HAL_DFSDM_FilterInit(&hdfsdm1_filter3) != HAL_OK)
  {
    Error_Handler();
  }
  hdfsdm1_channel0.Instance = DFSDM1_Channel0;
  hdfsdm1_channel0.Init.OutputClock.Activation = ENABLE;
  hdfsdm1_channel0.Init.OutputClock.Selection = DFSDM_CHANNEL_OUTPUT_CLOCK_SYSTEM;
  hdfsdm1_channel0.Init.OutputClock.Divider = 40;
  hdfsdm1_channel0.Init.Input.Multiplexer = DFSDM_CHANNEL_EXTERNAL_INPUTS;
  hdfsdm1_channel0.Init.Input.DataPacking = DFSDM_CHANNEL_STANDARD_MODE;
  hdfsdm1_channel0.Init.Input.Pins = DFSDM_CHANNEL_FOLLOWING_CHANNEL_PINS;
  hdfsdm1_channel0.Init.SerialInterface.Type = DFSDM_CHANNEL_SPI_RISING;
  hdfsdm1_channel0.Init.SerialInterface.SpiClock = DFSDM_CHANNEL_SPI_CLOCK_INTERNAL;
  hdfsdm1_channel0.Init.Awd.FilterOrder = DFSDM_CHANNEL_FASTSINC_ORDER;
  hdfsdm1_channel0.Init.Awd.Oversampling = 1;
  hdfsdm1_channel0.Init.Offset = 0;
  hdfsdm1_channel0.Init.RightBitShift = 0x7;
  if (HAL_DFSDM_ChannelInit(&hdfsdm1_channel0) != HAL_OK)
  {
    Error_Handler();
  }
  hdfsdm1_channel1.Instance = DFSDM1_Channel1;
  hdfsdm1_channel1.Init.OutputClock.Activation = ENABLE;
  hdfsdm1_channel1.Init.OutputClock.Selection = DFSDM_CHANNEL_OUTPUT_CLOCK_SYSTEM;
  hdfsdm1_channel1.Init.OutputClock.Divider = 40;
  hdfsdm1_channel1.Init.Input.Multiplexer = DFSDM_CHANNEL_EXTERNAL_INPUTS;
  hdfsdm1_channel1.Init.Input.DataPacking = DFSDM_CHANNEL_STANDARD_MODE;
  hdfsdm1_channel1.Init.Input.Pins = DFSDM_CHANNEL_SAME_CHANNEL_PINS;
  hdfsdm1_channel1.Init.SerialInterface.Type = DFSDM_CHANNEL_SPI_FALLING;
  hdfsdm1_channel1.Init.SerialInterface.SpiClock = DFSDM_CHANNEL_SPI_CLOCK_INTERNAL;
  hdfsdm1_channel1.Init.Awd.FilterOrder = DFSDM_CHANNEL_FASTSINC_ORDER;
  hdfsdm1_channel1.Init.Awd.Oversampling = 1;
  hdfsdm1_channel1.Init.Offset = 0;
  hdfsdm1_channel1.Init.RightBitShift = 0x07;
  if (HAL_DFSDM_ChannelInit(&hdfsdm1_channel1) != HAL_OK)
  {
    Error_Handler();
  }
  hdfsdm1_channel2.Instance = DFSDM1_Channel2;
  hdfsdm1_channel2.Init.OutputClock.Activation = ENABLE;
  hdfsdm1_channel2.Init.OutputClock.Selection = DFSDM_CHANNEL_OUTPUT_CLOCK_SYSTEM;
  hdfsdm1_channel2.Init.OutputClock.Divider = 40;
  hdfsdm1_channel2.Init.Input.Multiplexer = DFSDM_CHANNEL_EXTERNAL_INPUTS;
  hdfsdm1_channel2.Init.Input.DataPacking = DFSDM_CHANNEL_STANDARD_MODE;
  hdfsdm1_channel2.Init.Input.Pins = DFSDM_CHANNEL_FOLLOWING_CHANNEL_PINS;
  hdfsdm1_channel2.Init.SerialInterface.Type = DFSDM_CHANNEL_SPI_RISING;
  hdfsdm1_channel2.Init.SerialInterface.SpiClock = DFSDM_CHANNEL_SPI_CLOCK_INTERNAL;
  hdfsdm1_channel2.Init.Awd.FilterOrder = DFSDM_CHANNEL_FASTSINC_ORDER;
  hdfsdm1_channel2.Init.Awd.Oversampling = 1;
  hdfsdm1_channel2.Init.Offset = 0;
  hdfsdm1_channel2.Init.RightBitShift = 0x7;
  if (HAL_DFSDM_ChannelInit(&hdfsdm1_channel2) != HAL_OK)
  {
    Error_Handler();
  }
  hdfsdm1_channel3.Instance = DFSDM1_Channel3;
  hdfsdm1_channel3.Init.OutputClock.Activation = ENABLE;
  hdfsdm1_channel3.Init.OutputClock.Selection = DFSDM_CHANNEL_OUTPUT_CLOCK_SYSTEM;
  hdfsdm1_channel3.Init.OutputClock.Divider = 40;
  hdfsdm1_channel3.Init.Input.Multiplexer = DFSDM_CHANNEL_EXTERNAL_INPUTS;
  hdfsdm1_channel3.Init.Input.DataPacking = DFSDM_CHANNEL_STANDARD_MODE;
  hdfsdm1_channel3.Init.Input.Pins = DFSDM_CHANNEL_SAME_CHANNEL_PINS;
  hdfsdm1_channel3.Init.SerialInterface.Type = DFSDM_CHANNEL_SPI_FALLING;
  hdfsdm1_channel3.Init.SerialInterface.SpiClock = DFSDM_CHANNEL_SPI_CLOCK_INTERNAL;
  hdfsdm1_channel3.Init.Awd.FilterOrder = DFSDM_CHANNEL_FASTSINC_ORDER;
  hdfsdm1_channel3.Init.Awd.Oversampling = 1;
  hdfsdm1_channel3.Init.Offset = 0;
  hdfsdm1_channel3.Init.RightBitShift = 0x7;
  if (HAL_DFSDM_ChannelInit(&hdfsdm1_channel3) != HAL_OK)
  {
    Error_Handler();
  }
  if (HAL_DFSDM_FilterConfigRegChannel(&hdfsdm1_filter0, DFSDM_CHANNEL_2, DFSDM_CONTINUOUS_CONV_ON) != HAL_OK)
  {
    Error_Handler();
  }
  if (HAL_DFSDM_FilterConfigRegChannel(&hdfsdm1_filter1, DFSDM_CHANNEL_3, DFSDM_CONTINUOUS_CONV_ON) != HAL_OK)
  {
    Error_Handler();
  }
  if (HAL_DFSDM_FilterConfigRegChannel(&hdfsdm1_filter2, DFSDM_CHANNEL_0, DFSDM_CONTINUOUS_CONV_ON) != HAL_OK)
  {
    Error_Handler();
  }
  if (HAL_DFSDM_FilterConfigRegChannel(&hdfsdm1_filter3, DFSDM_CHANNEL_1, DFSDM_CONTINUOUS_CONV_ON) != HAL_OK)
  {
    Error_Handler();
  }

}

static void MX_I2C3_Init(void)
{

  hi2c3.Instance = I2C3;
  hi2c3.Init.Timing = 0x00300F33;
  hi2c3.Init.OwnAddress1 = 0;
  hi2c3.Init.AddressingMode = I2C_ADDRESSINGMODE_7BIT;
  hi2c3.Init.DualAddressMode = I2C_DUALADDRESS_DISABLE;
  hi2c3.Init.OwnAddress2 = 0;
  hi2c3.Init.OwnAddress2Masks = I2C_OA2_NOMASK;
  hi2c3.Init.GeneralCallMode = I2C_GENERALCALL_DISABLE;
  hi2c3.Init.NoStretchMode = I2C_NOSTRETCH_DISABLE;
  if (HAL_I2C_Init(&hi2c3) != HAL_OK)
  {
    Error_Handler();
  }
  /** Configure Analogue filter
  */
  if (HAL_I2CEx_ConfigAnalogFilter(&hi2c3, I2C_ANALOGFILTER_ENABLE) != HAL_OK)
  {
    Error_Handler();
  }
  /** Configure Digital filter
  */
  if (HAL_I2CEx_ConfigDigitalFilter(&hi2c3, 0) != HAL_OK)
  {
    Error_Handler();
  }
  /** I2C Fast mode Plus enable
  */
  HAL_I2CEx_EnableFastModePlus(I2C_FASTMODEPLUS_I2C3);

}

static void MX_DMA_Init(void)
{

  /* DMA controller clock enable */
  __HAL_RCC_DMA1_CLK_ENABLE();

  /* DMA interrupt init */
  /* DMA1_Channel4_IRQn interrupt configuration */
  HAL_NVIC_SetPriority(DMA1_Channel4_IRQn, 0, 0);
  HAL_NVIC_EnableIRQ(DMA1_Channel4_IRQn);
  /* DMA1_Channel5_IRQn interrupt configuration */
  HAL_NVIC_SetPriority(DMA1_Channel5_IRQn, 0, 0);
  HAL_NVIC_EnableIRQ(DMA1_Channel5_IRQn);
  /* DMA1_Channel6_IRQn interrupt configuration */
  HAL_NVIC_SetPriority(DMA1_Channel6_IRQn, 0, 0);
  HAL_NVIC_EnableIRQ(DMA1_Channel6_IRQn);
  /* DMA1_Channel7_IRQn interrupt configuration */
  HAL_NVIC_SetPriority(DMA1_Channel7_IRQn, 0, 0);
  HAL_NVIC_EnableIRQ(DMA1_Channel7_IRQn);

}

static void MX_GPIO_Init(void)
{
  GPIO_InitTypeDef GPIO_InitStruct = {0};

  /* GPIO Ports Clock Enable */
  __HAL_RCC_GPIOC_CLK_ENABLE();
  __HAL_RCC_GPIOH_CLK_ENABLE();
  __HAL_RCC_GPIOB_CLK_ENABLE();
  __HAL_RCC_GPIOA_CLK_ENABLE();

  /*Configure GPIO pin Output Level */
  HAL_GPIO_WritePin(LD3_GPIO_Port, LD3_Pin, GPIO_PIN_RESET);

  /*Configure GPIO pin : LD3_Pin */
  GPIO_InitStruct.Pin = LD3_Pin;
  GPIO_InitStruct.Mode = GPIO_MODE_OUTPUT_PP;
  GPIO_InitStruct.Pull = GPIO_NOPULL;
  GPIO_InitStruct.Speed = GPIO_SPEED_FREQ_LOW;
  HAL_GPIO_Init(LD3_GPIO_Port, &GPIO_InitStruct);

}

void Error_Handler(void)
{
  /* USER CODE BEGIN Error_Handler_Debug */
  /* User can add his own implementation to report the HAL error return state */
	while (1) {
		HAL_GPIO_TogglePin(LD3_GPIO_Port, LD3_Pin);
		HAL_Delay(1000);
	}
  /* USER CODE END Error_Handler_Debug */
}

/************************ (C) COPYRIGHT STMicroelectronics *****END OF FILE****/
